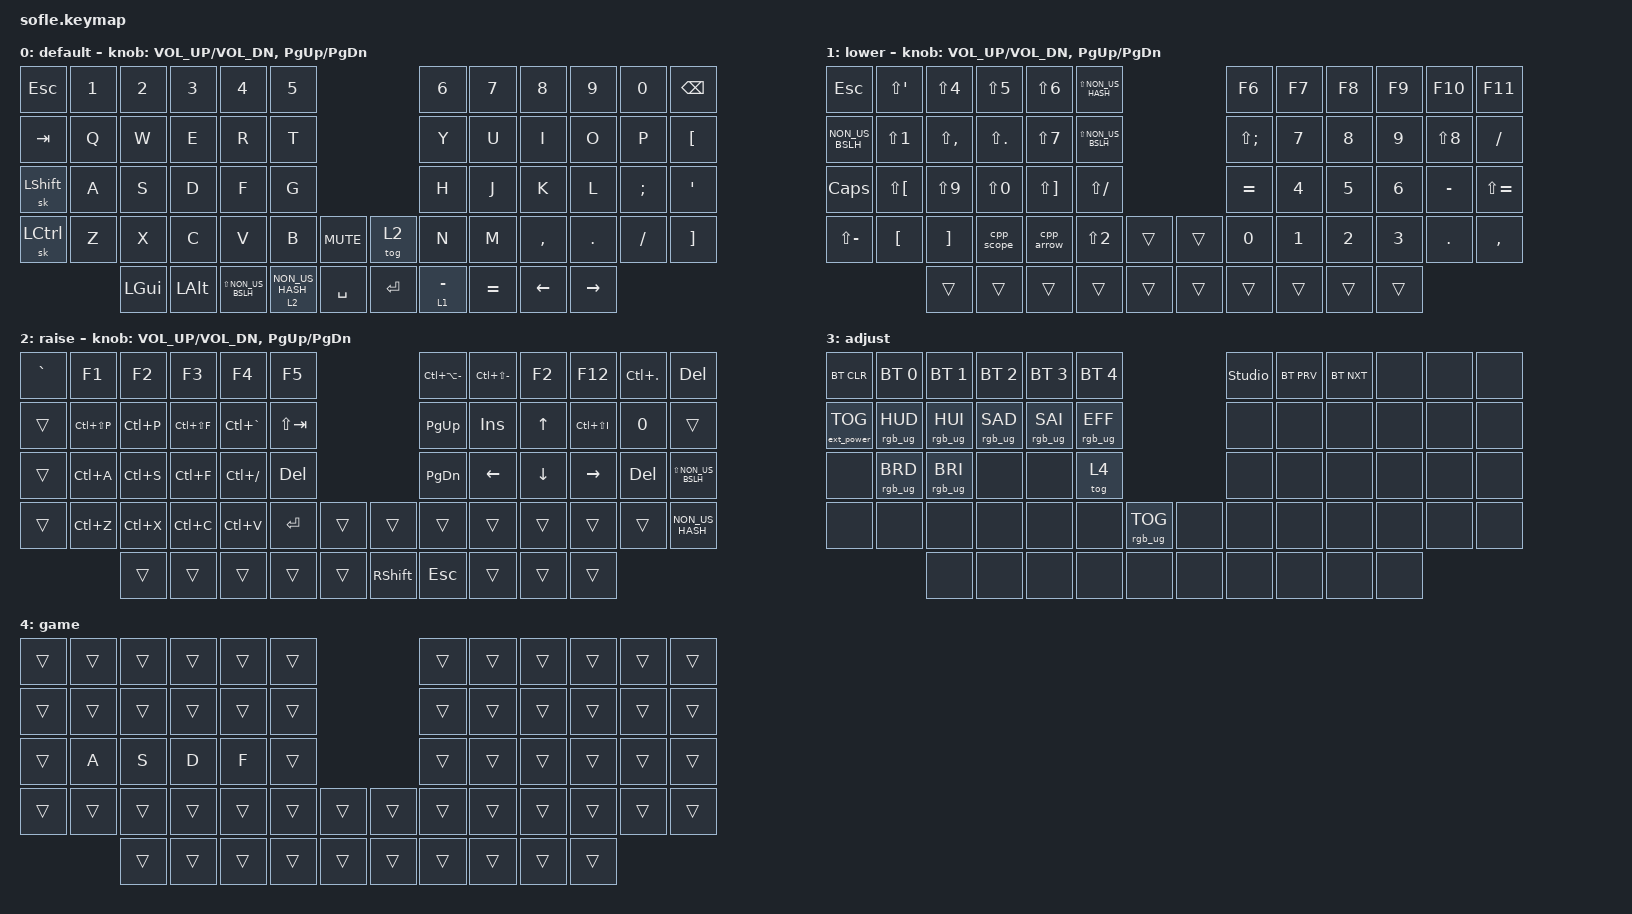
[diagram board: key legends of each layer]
/*
 * Sofle keymap - dumped from the live board via ZMK Studio, 2026-11-07.
 * Symbols assume a UK OS layout (NON_US_HASH / NON_US_BSLH).
 */

#include <behaviors.dtsi>
#include <dt-bindings/zmk/keys.h>
#include <dt-bindings/zmk/bt.h>
#include <dt-bindings/zmk/rgb.h>
#include <dt-bindings/zmk/ext_power.h>

/* Mechboards Sofle: the nice!view chip-select is wired to D4, not the
 * nice_view_adapter default (D1, which is the RGB data line here). */
&nice_view_spi {
    cs-gpios = <&pro_micro 4 GPIO_ACTIVE_HIGH>;
};

/ {
    macros {
        cpp_scope: cpp_scope {
            compatible = "zmk,behavior-macro";
            #binding-cells = <0>;
            bindings = <&macro_tap &kp LS(SEMI) &kp LS(SEMI)>;
        };
        cpp_arrow: cpp_arrow {
            compatible = "zmk,behavior-macro";
            #binding-cells = <0>;
            bindings = <&macro_tap &kp MINUS &kp LS(DOT)>;
        };
    };

    combos {
        compatible = "zmk,combos";
        /* F + J together: Caps Word (next word in CAPS, ends at space/symbol) */
        caps_word_combo {
            timeout-ms = <50>;
            key-positions = <28 31>;
            bindings = <&caps_word>;
        };
    };

    conditional_layers {
        compatible = "zmk,conditional-layers";
        adjust_layer {
            if-layers = <1 2>;
            then-layer = <3>;
        };
    };

    keymap {
        compatible = "zmk,keymap";

        default_layer {
            display-name = "default";
            bindings = <
                &kp ESC            &kp N1           &kp N2           &kp N3           &kp N4               &kp N5                                           &kp N6       &kp N7      &kp N8      &kp N9        &kp N0           &kp BSPC
                &kp TAB            &kp Q            &kp W            &kp E            &kp R                &kp T                                            &kp Y        &kp U       &kp I       &kp O         &kp P            &kp LBKT
                &sk LSHFT          &kp A            &kp S            &kp D            &kp F                &kp G                                            &kp H        &kp J        &kp K        &kp L       &kp SEMI            &kp SQT
                &sk LCTRL          &kp Z            &kp X            &kp C            &kp V                &kp B              &kp C_MUTE         &tog 2     &kp N        &kp M       &kp COMMA   &kp DOT       &kp FSLH         &kp RBKT
                                                    &kp LGUI         &kp LALT         &kp LS(NON_US_BSLH)  &lt 2 NON_US_HASH  &kp SPACE          &kp RET    &lt 1 MINUS  &kp EQUAL   &kp LEFT    &kp RIGHT
            >;
            sensor-bindings = <&inc_dec_kp C_VOL_UP C_VOL_DN &inc_dec_kp PG_UP PG_DN>;
        };

        lower_layer {
            display-name = "lower";
            /* Left hand: C++ symbols. Right hand: numpad (7-8-9 / 4-5-6 / 1-2-3, 0 under 1) + operators. */
            bindings = <
                &kp ESC          &kp LS(SQT)      &kp LS(N4)       &kp LS(N5)       &kp LS(N6)       &kp LS(NON_US_HASH) &kp F6           &kp F7           &kp F8           &kp F9           &kp F10          &kp F11
                &kp NON_US_BSLH  &kp LS(N1)       &kp LS(COMMA)    &kp LS(DOT)      &kp LS(N7)       &kp LS(NON_US_BSLH) &kp LS(SEMI)     &kp N7           &kp N8           &kp N9           &kp LS(N8)       &kp FSLH
                &kp CAPS         &kp LS(LBKT)     &kp LS(N9)       &kp LS(N0)       &kp LS(RBKT)     &kp LS(FSLH)     &kp EQUAL        &kp N4           &kp N5           &kp N6           &kp MINUS        &kp LS(EQUAL)
                &kp LS(MINUS)    &kp LBKT         &kp RBKT         &cpp_scope       &cpp_arrow       &kp LS(N2)       &trans           &trans           &kp N0           &kp N1           &kp N2           &kp N3           &kp DOT          &kp COMMA
                                                    &trans           &trans           &trans               &trans             &trans                &trans     &trans       &trans      &trans      &trans
            >;
            sensor-bindings = <&inc_dec_kp C_VOL_UP C_VOL_DN &inc_dec_kp PG_UP PG_DN>;
        };

        raise_layer {
            display-name = "raise";
            bindings = <
                &kp GRAVE        &kp F1           &kp F2           &kp F3           &kp F4           &kp F5           &kp LC(LA(MINUS)) &kp LC(LS(MINUS)) &kp F2           &kp F12          &kp LC(DOT)      &kp DEL
                &trans           &kp LC(LS(P))    &kp LC(P)        &kp LC(LS(F))    &kp LC(GRAVE)    &kp LS(TAB)      &kp PG_UP        &kp INS          &kp UP           &kp LC(LS(I))    &kp N0           &trans
                &trans           &kp LC(A)        &kp LC(S)        &kp LC(F)        &kp LC(FSLH)     &kp DEL          &kp PG_DN        &kp LEFT         &kp DOWN         &kp RIGHT        &kp DEL          &kp LS(NON_US_BSLH)
                &trans           &kp LC(Z)        &kp LC(X)        &kp LC(C)        &kp LC(V)        &kp RET          &trans           &trans           &trans           &trans           &trans           &trans           &trans           &kp NON_US_HASH
                                                    &trans           &trans           &trans               &trans             &trans             &kp RSHFT  &kp ESC      &trans      &trans      &trans
            >;
            sensor-bindings = <&inc_dec_kp C_VOL_UP C_VOL_DN &inc_dec_kp PG_UP PG_DN>;
        };

        adjust_layer {
            display-name = "adjust";
            bindings = <
                &bt BT_CLR         &bt BT_SEL 0     &bt BT_SEL 1     &bt BT_SEL 2     &bt BT_SEL 3         &bt BT_SEL 4                                     &studio_unlock        &bt BT_PRV  &bt BT_NXT      &none         &none            &none
                &ext_power EP_TOG  &rgb_ug RGB_HUD  &rgb_ug RGB_HUI  &rgb_ug RGB_SAD  &rgb_ug RGB_SAI      &rgb_ug RGB_EFF                                  &none        &none       &none       &none         &none            &none
                &none              &rgb_ug RGB_BRD  &rgb_ug RGB_BRI  &none            &none                &tog 4                                           &none        &none       &none       &none         &none            &none
                &none              &none            &none            &none            &none                &none              &rgb_ug RGB_TOG    &none      &none        &none       &none       &none         &none            &none
                                                    &none            &none            &none                &none              &none              &none      &none        &none       &none       &none
            >;
        };

        game_layer {
            /* Toggle on adjust (G position). Plain A/S/D/F so held WASD keys never become mods. */
            display-name = "game";
            bindings = <
                &trans             &trans           &trans           &trans           &trans               &trans                                           &trans       &trans      &trans      &trans        &trans           &trans
                &trans             &trans           &trans           &trans           &trans               &trans                                           &trans       &trans      &trans      &trans        &trans           &trans
                &trans             &kp A            &kp S            &kp D            &kp F                &trans                                           &trans       &trans      &trans      &trans        &trans           &trans
                &trans             &trans           &trans           &trans           &trans               &trans             &trans             &trans     &trans       &trans      &trans      &trans        &trans           &trans
                                                    &trans           &trans           &trans               &trans             &trans             &trans     &trans       &trans      &trans      &trans
            >;
        };
    };
};
